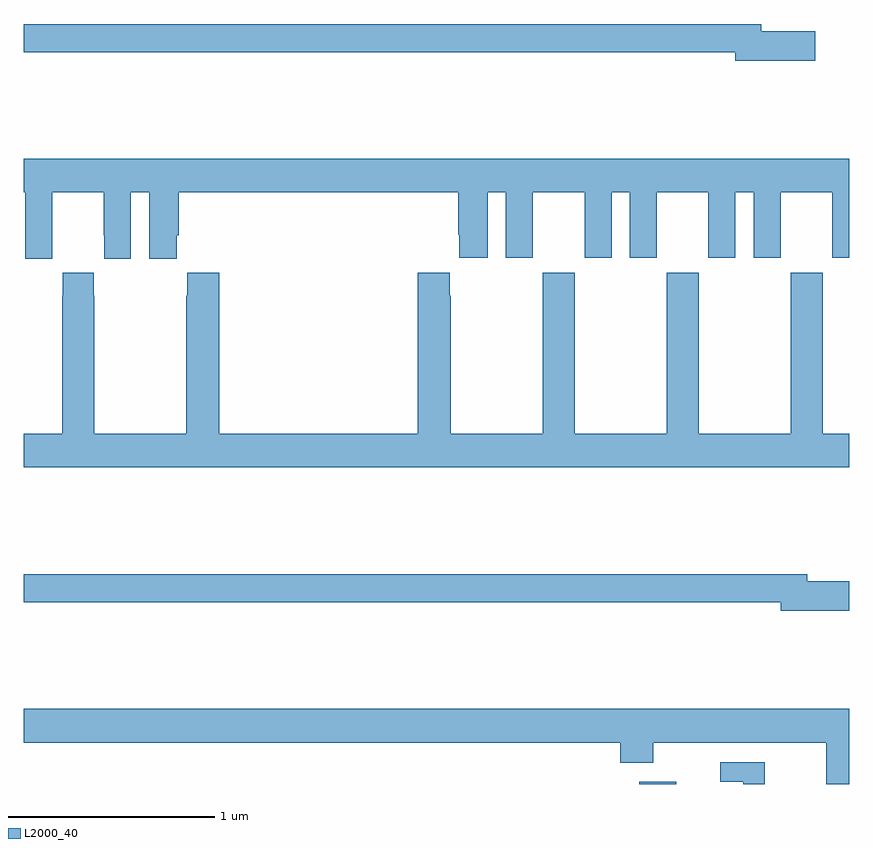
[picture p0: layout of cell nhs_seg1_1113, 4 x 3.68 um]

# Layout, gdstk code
import gdstk
lib = gdstk.Library(unit=1e-6, precision=1e-09)
def R(c, l, rs):  # rectangles x0, y0, x1, y1
    for r in rs: c.add(gdstk.rectangle(r[:2], r[2:], *l))
def P(c, l, *ps):  # polygons
    for p in ps: c.add(gdstk.Polygon(p, *l))
L2000_40 = (2000, 40)

nhs_seg1_1113 = lib.new_cell('nhs_seg1_1113')
R(nhs_seg1_1113, L2000_40, [(173.981,550.199,174.16,550.21)])
P(nhs_seg1_1113, L2000_40, [(174.835,553.844),(174.574,553.844),(174.574,553.88),(171,553.88),(171,553.744),(174.446,553.744),(174.446,553.702),(174.835,553.702)],
  [(171,553.064),(171.008,553.064),(171.008,552.744),(171.138,552.744),(171.138,552.856),(171.139,552.856),(171.139,553.064),(171.389,553.064),(171.389,552.856),(171.39,552.856),(171.39,552.744),(171.52,552.744),(171.52,553.064),(171.608,553.064),(171.608,552.744),(171.742,552.744),(171.742,552.856),(171.752,552.856),(171.752,553.064),(173.105,553.064),(173.105,552.859),(173.111,552.859),(173.111,552.747),(173.248,552.747),(173.248,553.064),(173.336,553.064),(173.336,552.747),(173.467,552.747),(173.467,553.064),(173.717,553.064),(173.717,552.747),(173.848,552.747),(173.848,553.064),(173.936,553.064),(173.936,552.747),(174.067,552.747),(174.067,553.064),(174.317,553.064),(174.317,552.747),(174.448,552.747),(174.448,553.064),(174.536,553.064),(174.536,552.747),(174.667,552.747),(174.667,553.064),(174.917,553.064),(174.917,552.747),(175,552.747),(175,553.228),(171,553.228)],
  [(175,551.896),(174.87,551.896),(174.87,552.676),(174.715,552.676),(174.715,551.896),(174.27,551.896),(174.27,552.676),(174.115,552.676),(174.115,551.896),(173.67,551.896),(173.67,552.676),(173.515,552.676),(173.515,551.896),(173.07,551.896),(173.07,552.563),(173.065,552.563),(173.065,552.676),(172.91,552.676),(172.91,551.896),(171.947,551.896),(171.947,552.676),(171.793,552.676),(171.793,552.563),(171.787,552.563),(171.787,551.896),(171.342,551.896),(171.342,552.563),(171.339,552.563),(171.339,552.676),(171.189,552.676),(171.189,552.563),(171.187,552.563),(171.187,551.896),(171,551.896),(171,551.732),(175,551.732)],
  [(175,551.18),(174.796,551.18),(174.796,551.216),(171,551.216),(171,551.08),(174.668,551.08),(174.668,551.038),(175,551.038)],
  [(175,550.564),(171,550.564),(171,550.4),(173.891,550.4),(173.891,550.301),(174.051,550.301),(174.051,550.4),(174.887,550.4),(174.887,550.199),(175,550.199)],
  [(174.589,550.305),(174.375,550.305),(174.375,550.209),(174.485,550.209),(174.485,550.199),(174.589,550.199)])

lib.write_gds('nhs_seg1_1113.gds')
